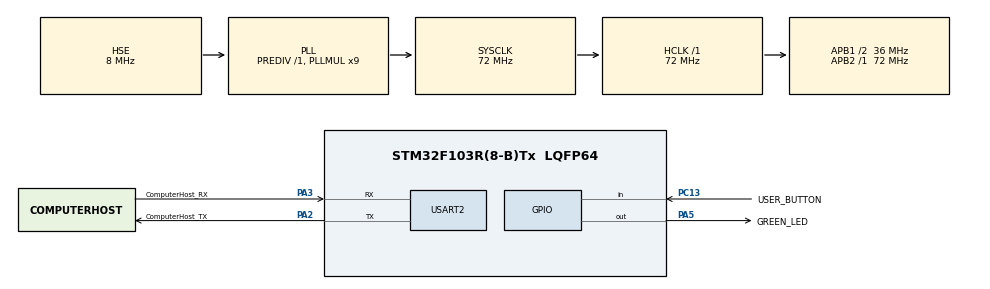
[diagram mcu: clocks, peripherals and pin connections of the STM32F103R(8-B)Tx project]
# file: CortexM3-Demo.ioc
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Mcu.Family=STM32F1
Mcu.Name=STM32F103R(8-B)Tx
Mcu.Package=LQFP64
NVIC.PriorityGroup=NVIC_PRIORITYGROUP_4
NVIC.USART2_IRQn=true\:0\:0\:false\:false\:true\:true\:true
PA13.GPIO_Label=TMS
PA13.Mode=Serial_Wire
PA13.Signal=SYS_JTMS-SWDIO
PA14.GPIO_Label=TCK
PA14.Mode=Serial_Wire
PA14.Signal=SYS_JTCK-SWCLK
PA2.GPIO_Label=ComputerHost_TX
PA2.GPIO_Mode=GPIO_MODE_AF_PP
PA2.GPIO_PuPd=GPIO_NOPULL
PA2.GPIO_Speed=GPIO_SPEED_FREQ_LOW
PA2.Mode=Asynchronous
PA2.Signal=USART2_TX
PA3.GPIO_Label=ComputerHost_RX
PA3.GPIO_Mode=GPIO_MODE_AF_PP
PA3.GPIO_PuPd=GPIO_NOPULL
PA3.GPIO_Speed=GPIO_SPEED_FREQ_LOW
PA3.Mode=Asynchronous
PA3.Signal=USART2_RX
PA5.GPIO_Label=GREEN_LED
PA5.GPIO_ModeDefaultOutputPP=GPIO_MODE_OUTPUT_PP
PA5.GPIO_PuPd=GPIO_NOPULL
PA5.GPIO_Speed=GPIO_SPEED_FREQ_LOW
PA5.Signal=GPIO_Output
PB3.GPIO_Label=SWO
PB3.Signal=SYS_JTDO-TRACESWO
PC13-TAMPER-RTC.GPIO_Label=USER_BUTTON
PC13-TAMPER-RTC.GPIO_PuPd=GPIO_NOPULL
PC13-TAMPER-RTC.Signal=GPIO_Input
PC14-OSC32_IN.Mode=LSE-External-Oscillator
PC14-OSC32_IN.Signal=RCC_OSC32_IN
PC15-OSC32_OUT.Mode=LSE-External-Oscillator
PC15-OSC32_OUT.Signal=RCC_OSC32_OUT
PD0-OSC_IN.Mode=HSE-External-Clock-Source
PD0-OSC_IN.Signal=RCC_OSC_IN
PD1-OSC_OUT.Mode=HSE-External-Clock-Source
PD1-OSC_OUT.Signal=RCC_OSC_OUT
ProjectManager.HeapSize=0x200
ProjectManager.StackSize=0x400
ProjectManager.TargetToolchain=MDK-ARM V5
RCC.AHBFreq_Value=72000000
RCC.APB1CLKDivider=RCC_HCLK_DIV2
RCC.APB1Freq_Value=36000000
RCC.APB1TimFreq_Value=72000000
RCC.APB2Freq_Value=72000000
RCC.APB2TimFreq_Value=72000000
RCC.HCLKFreq_Value=72000000
RCC.PLLMUL=RCC_PLL_MUL9
RCC.PLLSourceVirtual=RCC_PLLSOURCE_HSE
RCC.RTCClockSelection=RCC_RTCCLKSOURCE_LSE
RCC.SYSCLKFreq_VALUE=72000000
RCC.SYSCLKSource=RCC_SYSCLKSOURCE_PLLCLK
RCC.USBFreq_Value=72000000
USART2.VirtualMode=VM_ASYNC
board=NUCLEO-F103RB

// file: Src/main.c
/* USER CODE BEGIN Header */
/**
  ******************************************************************************
  * @file           : main.c
  * @brief          : Main program body
	* @author         : Chan Tai Wing Vincent
	* @content        : M3 Demo - Serial Plotter
	* @version        : Tutorial 7
  ******************************************************************************
  * @attention
  * This program is written for STM32F103RB Nucleo Board. This program is to
  * demonstrate how to control the built in LED (ON/OFF) by the USART message
  * which controlled by RX interrupt. Also, send USART message to another deivce.
  *
  ******************************************************************************
  */
/* USER CODE END Header */

#include "main.h"

/* USER CODE BEGIN Includes */
#include "stdbool.h" //include for bool type
/* USER CODE END Includes */

UART_HandleTypeDef huart2;

/* USER CODE BEGIN PV */
bool LED_ON = false;
unsigned char USART_RX_BUFFER[3];
unsigned char SYSTEM_START[28] = "WELCEOM TO STM32F103RBT6 !\r\n";
/* USER CODE END PV */

void SystemClock_Config(void);
static void MX_GPIO_Init(void);
static void MX_USART2_UART_Init(void);

int main(void)
{

  /* MCU Configuration--------------------------------------------------------*/

  /* Reset of all peripherals, Initializes the Flash interface and the Systick. */
  HAL_Init();

  /* Configure the system clock */
  SystemClock_Config();

  /* Initialize all configured peripherals */
  MX_GPIO_Init();
  MX_USART2_UART_Init();

  /* Infinite loop */
  /* USER CODE BEGIN WHILE */
  while (1)
  {
		int size1, size2,size3,size4;
		int SAMPLE_1,SAMPLE_2,SAMPLE_3,SAMPLE_4;
		unsigned char PLOTTER_BUFFER;
		HAL_UART_Transmit(&huart2,(unsigned char*)"$",1,500); //Start Of Frame
    // Send Negative = -20 //
		SAMPLE_1 = 20;
		size1 = sprintf((char*)&PLOTTER_BUFFER, "%d", SAMPLE_1);
		HAL_UART_Transmit(&huart2,(unsigned char*)"-",1,500);
		HAL_UART_Transmit(&huart2,(unsigned char*)&PLOTTER_BUFFER,size1,500);
		HAL_UART_Transmit(&huart2,(unsigned char*)" ",1,500);
    // Send Negative = -20 //

		//Send Positive = 40 //
		SAMPLE_2 = 40;
	  size2 = sprintf((char*)&PLOTTER_BUFFER, "%d", SAMPLE_2);
		HAL_UART_Transmit(&huart2,(unsigned char*)&PLOTTER_BUFFER,size2,500);
		HAL_UART_Transmit(&huart2,(unsigned char*)" ",1,500);
		//Send Positive = 40 //

		//Send Postive and larger than 255 = 320 //
		SAMPLE_3 = 320;
	  size3 = sprintf((char*)&PLOTTER_BUFFER, "%d", SAMPLE_3);
		HAL_UART_Transmit(&huart2,(unsigned char*)&PLOTTER_BUFFER,size3,500);
		HAL_UART_Transmit(&huart2,(unsigned char*)" ",1,500);
		//Send Postive and larger than 255 = 320 //

		//Send Negative and larger than 255 = -270 //
		SAMPLE_4 = 270;
	  size4 = sprintf((char*)&PLOTTER_BUFFER, "%d", SAMPLE_4);
		HAL_UART_Transmit(&huart2,(unsigned char*)"-",1,500);
		HAL_UART_Transmit(&huart2,(unsigned char*)&PLOTTER_BUFFER,size4,500);
		HAL_UART_Transmit(&huart2,(unsigned char*)" ",1,500);
		//Send Postive and larger than 255 = -270 //
		HAL_UART_Transmit(&huart2,(unsigned char*)";",1,500); //End Of Frame
		HAL_Delay(600);  //Slow down by the Message output by delay (can be improved by timer interrupt)
    /* USER CODE END WHILE */

  }
}

void SystemClock_Config(void)
{
  RCC_OscInitTypeDef RCC_OscInitStruct = {0};
  RCC_ClkInitTypeDef RCC_ClkInitStruct = {0};

  /** Initializes the CPU, AHB and APB busses clocks
  */
  RCC_OscInitStruct.OscillatorType = RCC_OSCILLATORTYPE_HSE;
  RCC_OscInitStruct.HSEState = RCC_HSE_BYPASS;
  RCC_OscInitStruct.HSEPredivValue = RCC_HSE_PREDIV_DIV1;
  RCC_OscInitStruct.HSIState = RCC_HSI_ON;
  RCC_OscInitStruct.PLL.PLLState = RCC_PLL_ON;
  RCC_OscInitStruct.PLL.PLLSource = RCC_PLLSOURCE_HSE;
  RCC_OscInitStruct.PLL.PLLMUL = RCC_PLL_MUL9;
  if (HAL_RCC_OscConfig(&RCC_OscInitStruct) != HAL_OK)
  {
    Error_Handler();
  }
  /** Initializes the CPU, AHB and APB busses clocks
  */
  RCC_ClkInitStruct.ClockType = RCC_CLOCKTYPE_HCLK|RCC_CLOCKTYPE_SYSCLK
                              |RCC_CLOCKTYPE_PCLK1|RCC_CLOCKTYPE_PCLK2;
  RCC_ClkInitStruct.SYSCLKSource = RCC_SYSCLKSOURCE_PLLCLK;
  RCC_ClkInitStruct.AHBCLKDivider = RCC_SYSCLK_DIV1;
  RCC_ClkInitStruct.APB1CLKDivider = RCC_HCLK_DIV2;
  RCC_ClkInitStruct.APB2CLKDivider = RCC_HCLK_DIV1;

  if (HAL_RCC_ClockConfig(&RCC_ClkInitStruct, FLASH_LATENCY_2) != HAL_OK)
  {
    Error_Handler();
  }
}

static void MX_USART2_UART_Init(void)
{

  huart2.Instance = USART2;
  huart2.Init.BaudRate = 115200;
  huart2.Init.WordLength = UART_WORDLENGTH_8B;
  huart2.Init.StopBits = UART_STOPBITS_1;
  huart2.Init.Parity = UART_PARITY_NONE;
  huart2.Init.Mode = UART_MODE_TX_RX;
  huart2.Init.HwFlowCtl = UART_HWCONTROL_NONE;
  huart2.Init.OverSampling = UART_OVERSAMPLING_16;
  if (HAL_UART_Init(&huart2) != HAL_OK)
  {
    Error_Handler();
  }

}

static void MX_GPIO_Init(void)
{
  GPIO_InitTypeDef GPIO_InitStruct = {0};

  /* GPIO Ports Clock Enable */
  __HAL_RCC_GPIOC_CLK_ENABLE();
  __HAL_RCC_GPIOD_CLK_ENABLE();
  __HAL_RCC_GPIOA_CLK_ENABLE();
  __HAL_RCC_GPIOB_CLK_ENABLE();

  /*Configure GPIO pin Output Level */
  HAL_GPIO_WritePin(GREEN_LED_GPIO_Port, GREEN_LED_Pin, GPIO_PIN_RESET);

  /*Configure GPIO pin : USER_BUTTON_Pin */
  GPIO_InitStruct.Pin = USER_BUTTON_Pin;
  GPIO_InitStruct.Mode = GPIO_MODE_INPUT;
  GPIO_InitStruct.Pull = GPIO_NOPULL;
  HAL_GPIO_Init(USER_BUTTON_GPIO_Port, &GPIO_InitStruct);

  /*Configure GPIO pin : GREEN_LED_Pin */
  GPIO_InitStruct.Pin = GREEN_LED_Pin;
  GPIO_InitStruct.Mode = GPIO_MODE_OUTPUT_PP;
  GPIO_InitStruct.Pull = GPIO_NOPULL;
  GPIO_InitStruct.Speed = GPIO_SPEED_FREQ_LOW;
  HAL_GPIO_Init(GREEN_LED_GPIO_Port, &GPIO_InitStruct);

}

/* USER CODE BEGIN 4 */
void HAL_UART_RxCpltCallback(UART_HandleTypeDef *huart)  //USART Receive Interrupt
{
  UNUSED(huart);
	if (huart == &huart2)  //Decide what should USART2 do when message is received
	{

	}
}
/* USER CODE END 4 */

void Error_Handler(void)
{
}

/************************ (C) COPYRIGHT STMicroelectronics *****END OF FILE****/
